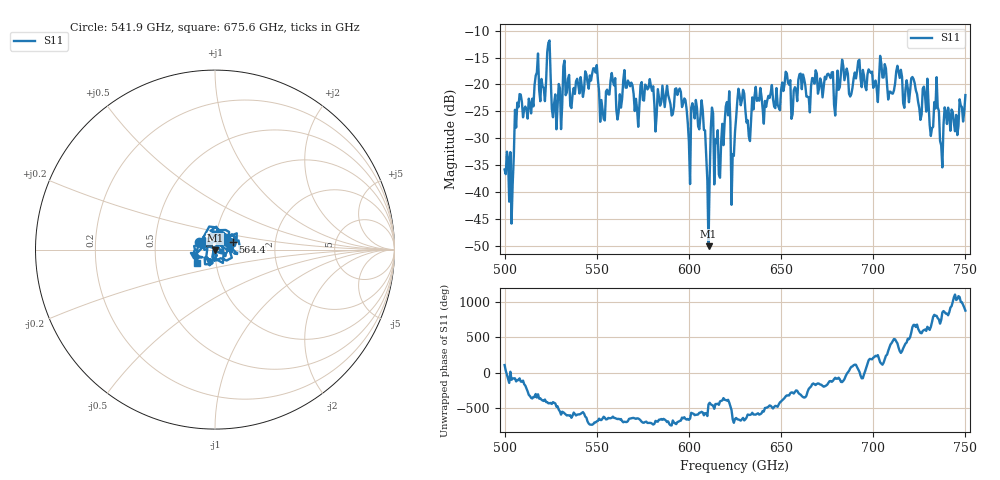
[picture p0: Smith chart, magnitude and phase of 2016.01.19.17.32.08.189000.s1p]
!Created with skrf (http://scikit-rf.org).
# GHz S RI R 50.0
!freq ReS11 ImS11
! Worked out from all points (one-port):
!   401 points, 500 GHz to 750 GHz, reference 50 ohm
!   lowest |S11| = -50.1 dB at 610.6 GHz (marker M1), VSWR 1.01, Z = 50 - j0.312 ohm
!   |S11| at or under -10 dB: start of sweep to end of sweep
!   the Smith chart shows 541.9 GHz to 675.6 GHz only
!   S11 on the Smith chart (normalised r, x): 541.9 GHz: 0.84, +0.07; 564.4 GHz: 1.22, +0.11; 675.6 GHz: 0.81, -0.12
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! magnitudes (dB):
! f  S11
! 500 GHz  -35.8
! 503.8 GHz  -45.9
! 508.1 GHz  -21.8
! 523.8 GHz  -12.2
! 526.9 GHz  -23.5
! 531.2 GHz  -23.8
! 541.9 GHz  -20.4
! 562.5 GHz  -21.8
! 564.4 GHz  -19.2
! 593.8 GHz  -22.0
! 600 GHz  -30.8
! 607.5 GHz  -24.8
! 610.6 GHz  -50.1
! 613.1 GHz  -25.4
! 617.5 GHz  -30.6
! 620.6 GHz  -23.3
! 623.8 GHz  -33.0
! 625 GHz  -28.9
! 628.1 GHz  -23.9
! 632.5 GHz  -29.7
! 637.5 GHz  -22.7
! 656.2 GHz  -25.6
! 675.6 GHz  -18.0
! 687.5 GHz  -22.2
! 718.8 GHz  -20.7
! 734.4 GHz  -18.7
! 736.9 GHz  -31.4
! 750 GHz  -22.0
